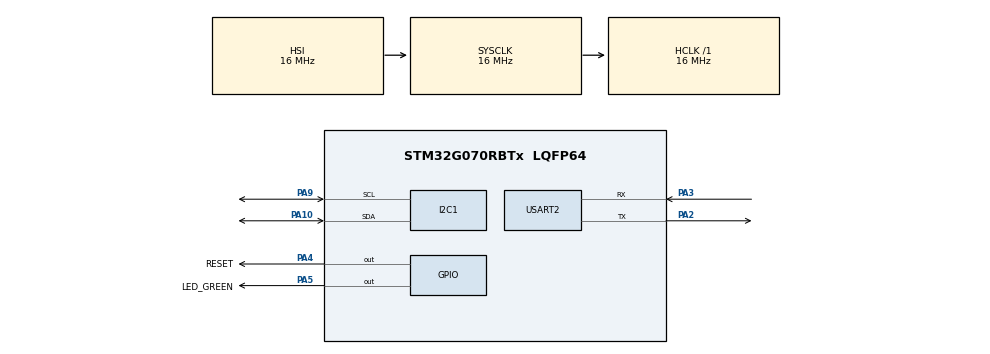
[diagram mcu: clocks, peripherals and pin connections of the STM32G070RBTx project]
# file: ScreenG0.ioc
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Mcu.Family=STM32G0
Mcu.Name=STM32G070RBTx
Mcu.Package=LQFP64
PA10.Mode=I2C
PA10.Signal=I2C1_SDA
PA13.GPIO_Label=TMS
PA13.Mode=Serial_Wire
PA13.Signal=SYS_SWDIO
PA14-BOOT0.GPIO_Label=TCK
PA14-BOOT0.Mode=Serial_Wire
PA14-BOOT0.Signal=SYS_SWCLK
PA2.GPIO_PuPd=GPIO_PULLUP
PA2.Mode=Asynchronous
PA2.Signal=USART2_TX
PA3.GPIO_PuPd=GPIO_PULLUP
PA3.Mode=Asynchronous
PA3.Signal=USART2_RX
PA4.GPIO_Label=RESET
PA4.Signal=GPIO_Output
PA5.GPIO_Label=LED_GREEN
PA5.GPIO_Speed=GPIO_SPEED_FREQ_HIGH
PA5.Signal=GPIO_Output
PA9.Mode=I2C
PA9.Signal=I2C1_SCL
PC13.Mode=SYS_WakeUp1
PC13.Signal=SYS_WKUP2
PC14-OSC32_IN\ (PC14).Mode=LSE-External-Oscillator
PC14-OSC32_IN\ (PC14).Signal=RCC_OSC32_IN
PC15-OSC32_OUT\ (PC15).Mode=LSE-External-Oscillator
PC15-OSC32_OUT\ (PC15).Signal=RCC_OSC32_OUT
PF0-OSC_IN\ (PF0).GPIO_Label=MCO
PF0-OSC_IN\ (PF0).Mode=HSE-External-Clock-Source
PF0-OSC_IN\ (PF0).Signal=RCC_OSC_IN
ProjectManager.HeapSize=0x200
ProjectManager.StackSize=0x400
ProjectManager.TargetToolchain=STM32CubeIDE
RCC.AHBFreq_Value=16000000
RCC.CortexFreq_Value=16000000
RCC.EXTERNAL_CLOCK_VALUE=12288000
RCC.HCLKFreq_Value=16000000
RCC.HSE_VALUE=8000000
RCC.HSI_VALUE=16000000
RCC.SYSCLKFreq_VALUE=16000000
RCC.VCOOutputFreq_Value=128000000
USART2.VirtualMode-Asynchronous=VM_ASYNC
USART2.WordLength=WORDLENGTH_8B
VP_SYS_VS_DBSignals.Mode=DisableDeadBatterySignals
board=NUCLEO-G070RB

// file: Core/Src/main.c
/* USER CODE BEGIN Header */
/**
  ******************************************************************************
  * @file           : main.c
  * @brief          : Main program body
  ******************************************************************************
  * @attention
  *
  * <h2><center>&copy; Copyright (c) 2022 STMicroelectronics.
  * All rights reserved.</center></h2>
  *
  * This software component is licensed by ST under BSD 3-Clause license,
  * the "License"; You may not use this file except in compliance with the
  * License. You may obtain a copy of the License at:
  *                        opensource.org/licenses/BSD-3-Clause
  *
  ******************************************************************************
  */
/* USER CODE END Header */
#include "main.h"

I2C_HandleTypeDef hi2c1;

UART_HandleTypeDef huart2;

void SystemClock_Config(void);
static void MX_GPIO_Init(void);
static void MX_I2C1_Init(void);
static void MX_USART2_UART_Init(void);

/* USER CODE BEGIN 0 */
int __io_putchar(int ch)
{
    HAL_UART_Transmit(&huart2, (uint8_t*)&ch, 1, HAL_MAX_DELAY);
    return 1;
}

#define LCD_ADDRESS 0x78

uint8_t commands[4] = {0x00, 0x00};

HAL_StatusTypeDef halstatus = 0;

uint8_t customchar1[9] = {
		0x40,
		0b10000,
		0b11000,
		0b11100,
		0b11111,
		0b11111,
		0b11100,
		0b11000,
		0b10000,
};

uint8_t customchar2[9] = {
		0x40,
		0b00000,
		0b01010,
		0b00000,
		0b10001,
		0b01110,
		0b00000,
		0b00000,
		0b00000,
};

uint8_t oneplacer[9] = {
		0x40,
		0b00000,
		0b00000,
		0b00000,
		0b00000,
		0b00000,
		0b00000,
		0b00000,
		0b00000
};

uint8_t Helper_Array[8][5];

void Init_LCD()

{

    HAL_GPIO_WritePin(GPIOA, RESET_Pin, GPIO_PIN_SET); // make LCD_RST high to start LCD module

    HAL_Delay(60);

    halstatus = HAL_I2C_IsDeviceReady(&hi2c1, LCD_ADDRESS, 2, 100);

    commands[1] = 0x38;

    halstatus = HAL_I2C_Master_Transmit(&hi2c1, LCD_ADDRESS, commands, 2, 100);

    HAL_Delay(60);

    commands[1] = 0x39;

    halstatus = HAL_I2C_Master_Transmit(&hi2c1, LCD_ADDRESS, commands, 2, 100);

    HAL_Delay(60);

    commands[1] = 0x14;

    halstatus = HAL_I2C_Master_Transmit(&hi2c1, LCD_ADDRESS, commands, 2, 100);

    HAL_Delay(60);

    commands[1] = 0x78;

    halstatus = HAL_I2C_Master_Transmit(&hi2c1, LCD_ADDRESS, commands, 2, 100);

    HAL_Delay(60);

    commands[1] = 0x5e;

    halstatus = HAL_I2C_Master_Transmit(&hi2c1, LCD_ADDRESS, commands, 2, 100);

    HAL_Delay(60);

    commands[1] = 0x6d;

    halstatus = HAL_I2C_Master_Transmit(&hi2c1, LCD_ADDRESS, commands, 2, 100);

    HAL_Delay(60);

    commands[1] = 0x0c;

    halstatus = HAL_I2C_Master_Transmit(&hi2c1, LCD_ADDRESS, commands, 2, 100);

    HAL_Delay(60);

    commands[1] = 0x01;

    halstatus = HAL_I2C_Master_Transmit(&hi2c1, LCD_ADDRESS, commands, 2, 100);

    HAL_Delay(60);

    commands[1] = 0x06;

    halstatus = HAL_I2C_Master_Transmit(&hi2c1, LCD_ADDRESS, commands, 2, 100);

    HAL_Delay(60);
}

void Show_LCD(uint8_t text_string[])

{
    commands[1] = 0x80; // First character position of first Line

    halstatus = HAL_I2C_Master_Transmit(&hi2c1, LCD_ADDRESS, commands, 2, 100);

    HAL_Delay(60);

    uint8_t* data = (uint8_t*)malloc(strlen(text_string) + 1);
    data[0] = 0x40;

    for(uint8_t i = 1; i <= strlen(text_string) + 1; i++){
    	data[i] = text_string[i - 1];
    }
    halstatus = HAL_I2C_Master_Transmit(&hi2c1, LCD_ADDRESS, data, strlen(text_string) + 1, 100);

    HAL_Delay(60);
}

void Update_Char()
{
	HAL_Delay(5);

	commands[1] = 0x38;

	halstatus = HAL_I2C_Master_Transmit(&hi2c1, LCD_ADDRESS, commands, 2, 100);
	HAL_Delay(5);

	commands[1] = 0x48;
	halstatus = HAL_I2C_Master_Transmit(&hi2c1, LCD_ADDRESS, commands, 2, 100);

	HAL_Delay(5);

	halstatus = HAL_I2C_Master_Transmit(&hi2c1, LCD_ADDRESS, oneplacer, 9, 100);
	HAL_Delay(5);

	commands[1] = 0x39; // First character position of first Line
	halstatus = HAL_I2C_Master_Transmit(&hi2c1, LCD_ADDRESS, commands, 2, 100);
	HAL_Delay(5);
}

void ClearHelperArray()
{
	for(uint8_t i=0; i < 8; i++){
			for(uint8_t j=0; j < 5; j++)
			{
				Helper_Array[i][j] = 0;
			}
	}
}

void HelperToBytes()
{
	for(uint8_t i=0,k=1; i < 8; i++, k++){
			uint8_t value = 0;
			for(uint8_t j=0; j < 5; j++)
			{

				if(Helper_Array[i][j] == 1)
				{
					value += pow(2,5-j);
				}
			}
			oneplacer[k] = value;
		}
}

void Snake()
{
	for(uint8_t i=0; i < 8; i++){
		for(uint8_t j=0; j < 5; j++)
		{
			ClearHelperArray();
			Helper_Array[i][j] = 1;
			HelperToBytes();
			Update_Char();
			HAL_Delay(100);
		}
	}
}

/* USER CODE END 0 */

int main(void)
{

  /* MCU Configuration--------------------------------------------------------*/

  /* Reset of all peripherals, Initializes the Flash interface and the Systick. */
  HAL_Init();

  /* Configure the system clock */
  SystemClock_Config();

  /* Initialize all configured peripherals */
  MX_GPIO_Init();
  MX_I2C1_Init();

  MX_USART2_UART_Init();
  Init_LCD();

  Show_LCD("\001\001\001\001\001\001\001\001\001\001\001");
  HAL_Delay(1000);
  /*
  uint8_t text_string[20] = "         ";

  Show_LCD("                  ");
  for(int i=0; i < 20; i++ )
  {
	  text_string[i] = '\001';
	  Show_LCD(text_string);
	  HAL_Delay(200);
  }
  */

  /* Infinite loop */
  while (1)
  {
	 Snake();
	 HAL_Delay(500);
  }
}

void SystemClock_Config(void)
{
  RCC_OscInitTypeDef RCC_OscInitStruct = {0};
  RCC_ClkInitTypeDef RCC_ClkInitStruct = {0};
  RCC_PeriphCLKInitTypeDef PeriphClkInit = {0};

  /** Configure the main internal regulator output voltage
  */
  HAL_PWREx_ControlVoltageScaling(PWR_REGULATOR_VOLTAGE_SCALE1);
  /** Initializes the RCC Oscillators according to the specified parameters
  * in the RCC_OscInitTypeDef structure.
  */
  RCC_OscInitStruct.OscillatorType = RCC_OSCILLATORTYPE_HSI;
  RCC_OscInitStruct.HSIState = RCC_HSI_ON;
  RCC_OscInitStruct.HSIDiv = RCC_HSI_DIV1;
  RCC_OscInitStruct.HSICalibrationValue = RCC_HSICALIBRATION_DEFAULT;
  RCC_OscInitStruct.PLL.PLLState = RCC_PLL_NONE;
  if (HAL_RCC_OscConfig(&RCC_OscInitStruct) != HAL_OK)
  {
    Error_Handler();
  }
  /** Initializes the CPU, AHB and APB buses clocks
  */
  RCC_ClkInitStruct.ClockType = RCC_CLOCKTYPE_HCLK|RCC_CLOCKTYPE_SYSCLK
                              |RCC_CLOCKTYPE_PCLK1;
  RCC_ClkInitStruct.SYSCLKSource = RCC_SYSCLKSOURCE_HSI;
  RCC_ClkInitStruct.AHBCLKDivider = RCC_SYSCLK_DIV1;
  RCC_ClkInitStruct.APB1CLKDivider = RCC_HCLK_DIV1;

  if (HAL_RCC_ClockConfig(&RCC_ClkInitStruct, FLASH_LATENCY_0) != HAL_OK)
  {
    Error_Handler();
  }
  /** Initializes the peripherals clocks
  */
  PeriphClkInit.PeriphClockSelection = RCC_PERIPHCLK_USART2|RCC_PERIPHCLK_I2C1;
  PeriphClkInit.Usart2ClockSelection = RCC_USART2CLKSOURCE_PCLK1;
  PeriphClkInit.I2c1ClockSelection = RCC_I2C1CLKSOURCE_PCLK1;
  if (HAL_RCCEx_PeriphCLKConfig(&PeriphClkInit) != HAL_OK)
  {
    Error_Handler();
  }
}

static void MX_I2C1_Init(void)
{

  hi2c1.Instance = I2C1;
  hi2c1.Init.Timing = 0x00303D5B;
  hi2c1.Init.OwnAddress1 = 20;
  hi2c1.Init.AddressingMode = I2C_ADDRESSINGMODE_7BIT;
  hi2c1.Init.DualAddressMode = I2C_DUALADDRESS_DISABLE;
  hi2c1.Init.OwnAddress2 = 0;
  hi2c1.Init.OwnAddress2Masks = I2C_OA2_NOMASK;
  hi2c1.Init.GeneralCallMode = I2C_GENERALCALL_DISABLE;
  hi2c1.Init.NoStretchMode = I2C_NOSTRETCH_DISABLE;
  if (HAL_I2C_Init(&hi2c1) != HAL_OK)
  {
    Error_Handler();
  }
  /** Configure Analogue filter
  */
  if (HAL_I2CEx_ConfigAnalogFilter(&hi2c1, I2C_ANALOGFILTER_ENABLE) != HAL_OK)
  {
    Error_Handler();
  }
  /** Configure Digital filter
  */
  if (HAL_I2CEx_ConfigDigitalFilter(&hi2c1, 0) != HAL_OK)
  {
    Error_Handler();
  }

}

static void MX_USART2_UART_Init(void)
{

  huart2.Instance = USART2;
  huart2.Init.BaudRate = 115200;
  huart2.Init.WordLength = UART_WORDLENGTH_8B;
  huart2.Init.StopBits = UART_STOPBITS_1;
  huart2.Init.Parity = UART_PARITY_NONE;
  huart2.Init.Mode = UART_MODE_TX_RX;
  huart2.Init.HwFlowCtl = UART_HWCONTROL_NONE;
  huart2.Init.OverSampling = UART_OVERSAMPLING_16;
  huart2.Init.OneBitSampling = UART_ONE_BIT_SAMPLE_DISABLE;
  huart2.Init.ClockPrescaler = UART_PRESCALER_DIV1;
  huart2.AdvancedInit.AdvFeatureInit = UART_ADVFEATURE_NO_INIT;
  if (HAL_UART_Init(&huart2) != HAL_OK)
  {
    Error_Handler();
  }
  if (HAL_UARTEx_SetTxFifoThreshold(&huart2, UART_TXFIFO_THRESHOLD_1_8) != HAL_OK)
  {
    Error_Handler();
  }
  if (HAL_UARTEx_SetRxFifoThreshold(&huart2, UART_RXFIFO_THRESHOLD_1_8) != HAL_OK)
  {
    Error_Handler();
  }
  if (HAL_UARTEx_DisableFifoMode(&huart2) != HAL_OK)
  {
    Error_Handler();
  }

}

static void MX_GPIO_Init(void)
{
  GPIO_InitTypeDef GPIO_InitStruct = {0};

  /* GPIO Ports Clock Enable */
  __HAL_RCC_GPIOC_CLK_ENABLE();
  __HAL_RCC_GPIOF_CLK_ENABLE();
  __HAL_RCC_GPIOA_CLK_ENABLE();

  /*Configure GPIO pin Output Level */
  HAL_GPIO_WritePin(GPIOA, RESET_Pin|LED_GREEN_Pin, GPIO_PIN_RESET);

  /*Configure GPIO pin : RESET_Pin */
  GPIO_InitStruct.Pin = RESET_Pin;
  GPIO_InitStruct.Mode = GPIO_MODE_OUTPUT_PP;
  GPIO_InitStruct.Pull = GPIO_NOPULL;
  GPIO_InitStruct.Speed = GPIO_SPEED_FREQ_LOW;
  HAL_GPIO_Init(RESET_GPIO_Port, &GPIO_InitStruct);

  /*Configure GPIO pin : LED_GREEN_Pin */
  GPIO_InitStruct.Pin = LED_GREEN_Pin;
  GPIO_InitStruct.Mode = GPIO_MODE_OUTPUT_PP;
  GPIO_InitStruct.Pull = GPIO_NOPULL;
  GPIO_InitStruct.Speed = GPIO_SPEED_FREQ_HIGH;
  HAL_GPIO_Init(LED_GREEN_GPIO_Port, &GPIO_InitStruct);

}

void Error_Handler(void)
{
  __disable_irq();
  while (1)
  {
  }
}

/************************ (C) COPYRIGHT STMicroelectronics *****END OF FILE****/
